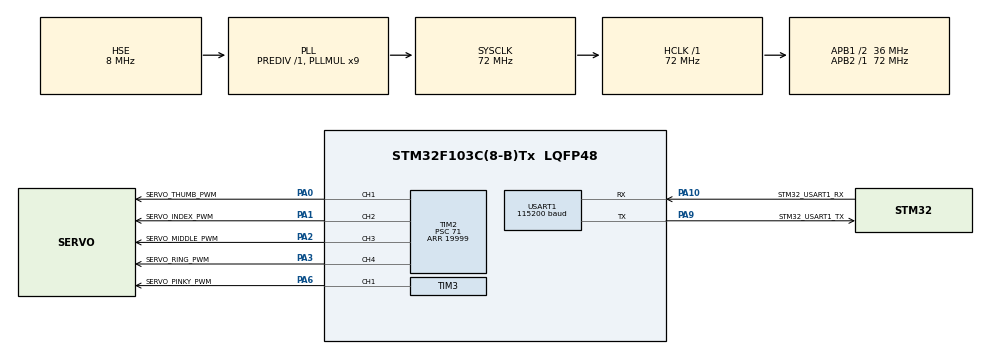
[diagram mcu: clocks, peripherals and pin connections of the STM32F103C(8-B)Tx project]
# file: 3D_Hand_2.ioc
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Mcu.Family=STM32F1
Mcu.Name=STM32F103C(8-B)Tx
Mcu.Package=LQFP48
NVIC.PriorityGroup=NVIC_PRIORITYGROUP_4
NVIC.USART1_IRQn=true\:1\:0\:false\:false\:true\:true\:true\:true
PA0-WKUP.GPIO_Label=SERVO_THUMB_PWM
PA0-WKUP.Signal=S_TIM2_CH1
PA1.GPIO_Label=SERVO_INDEX_PWM
PA1.Signal=S_TIM2_CH2
PA10.GPIO_Label=STM32_USART1_RX
PA10.Mode=Asynchronous
PA10.Signal=USART1_RX
PA2.GPIO_Label=SERVO_MIDDLE_PWM
PA2.Signal=S_TIM2_CH3
PA3.GPIO_Label=SERVO_RING_PWM
PA3.Signal=S_TIM2_CH4
PA6.GPIO_Label=SERVO_PINKY_PWM
PA6.Signal=S_TIM3_CH1
PA9.GPIO_Label=STM32_USART1_TX
PA9.Mode=Asynchronous
PA9.Signal=USART1_TX
PD0-OSC_IN.Mode=HSE-External-Clock-Source
PD0-OSC_IN.Signal=RCC_OSC_IN
PD1-OSC_OUT.Mode=HSE-External-Clock-Source
PD1-OSC_OUT.Signal=RCC_OSC_OUT
ProjectManager.HeapSize=0x200
ProjectManager.StackSize=0x400
ProjectManager.TargetToolchain=CMake
RCC.AHBFreq_Value=72000000
RCC.APB1CLKDivider=RCC_HCLK_DIV2
RCC.APB1Freq_Value=36000000
RCC.APB1TimFreq_Value=72000000
RCC.APB2Freq_Value=72000000
RCC.APB2TimFreq_Value=72000000
RCC.HCLKFreq_Value=72000000
RCC.PLLMUL=RCC_PLL_MUL9
RCC.PLLSourceVirtual=RCC_PLLSOURCE_HSE
RCC.SYSCLKFreq_VALUE=72000000
RCC.SYSCLKSource=RCC_SYSCLKSOURCE_PLLCLK
RCC.USBFreq_Value=72000000
SH.S_TIM2_CH1.0=TIM2_CH1,PWM Generation1 CH1
SH.S_TIM2_CH2.0=TIM2_CH2,PWM Generation2 CH2
SH.S_TIM2_CH3.0=TIM2_CH3,PWM Generation3 CH3
SH.S_TIM2_CH4.0=TIM2_CH4,PWM Generation4 CH4
SH.S_TIM3_CH1.0=TIM3_CH1,PWM Generation1 CH1
TIM2.Channel-PWM\ Generation1\ CH1=TIM_CHANNEL_1
TIM2.Channel-PWM\ Generation2\ CH2=TIM_CHANNEL_2
TIM2.Channel-PWM\ Generation3\ CH3=TIM_CHANNEL_3
TIM2.Channel-PWM\ Generation4\ CH4=TIM_CHANNEL_4
TIM2.Period=19999
TIM2.Prescaler=71
TIM2.Pulse-PWM\ Generation1\ CH1=1000
TIM2.Pulse-PWM\ Generation2\ CH2=1000
TIM2.Pulse-PWM\ Generation3\ CH3=1000
TIM2.Pulse-PWM\ Generation4\ CH4=1000
TIM3.Channel-PWM\ Generation1\ CH1=TIM_CHANNEL_1
TIM3.Period=19999
TIM3.Prescaler=71
TIM3.Pulse-PWM\ Generation1\ CH1=1000
USART1.BaudRate=115200
USART1.VirtualMode-Asynchronous=VM_ASYNC
VP_SYS_VS_ND.Mode=No_Debug
board=custom

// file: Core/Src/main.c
/* USER CODE BEGIN Header */
/**
  ******************************************************************************
  * @file           : main.c
  * @brief          : Main program body
  ******************************************************************************
  * @attention
  *
  * Copyright (c) 2026 STMicroelectronics.
  * All rights reserved.
  *
  * This software is licensed under terms that can be found in the LICENSE file
  * in the root directory of this software component.
  * If no LICENSE file comes with this software, it is provided AS-IS.
  *
  ******************************************************************************
  */
/* USER CODE END Header */
#include "main.h"
#include "gpio.h"

/* USER CODE BEGIN Includes */
// 标准库头文件：bool类型、字符串处理、格式化输出
#include <stdbool.h>
#include <string.h>
#include <stdio.h>

/* USER CODE END Includes */

/* USER CODE BEGIN PD */

// ---- 灵巧手控制参数宏定义 ----
#define HAND_SERVO_COUNT          5U      // 舵机数量：5根手指
#define HAND_PWM_PERIOD_US        20000U  // PWM周期20ms（50Hz），SG90舵机标准频率
#define HAND_CONTROL_PERIOD_MS    20U     // 控制循环周期20ms，每周期更新一次舵机位置
#define HAND_COMMAND_TIMEOUT_MS   500U    // 命令超时500ms，超时后自动张开手指（安全保护）
#define HAND_UART_BAUDRATE        115200U // 串口波特率115200
#define HAND_RX_RING_SIZE         128U    // 串口接收环形缓冲区大小

/* USER CODE END PD */

/* USER CODE BEGIN PV */

// ---- HAL 外设句柄 ----
UART_HandleTypeDef huart1;   // USART1 串口句柄（与上位机通信）
TIM_HandleTypeDef htim2;     // TIM2 定时器句柄（输出4路PWM：CH1~CH4）
TIM_HandleTypeDef htim3;     // TIM3 定时器句柄（输出1路PWM：CH1）

// ---- 串口接收环形缓冲区 ----
static volatile uint8_t rx_byte;                           // 单字节中断接收暂存
static volatile uint8_t rx_ring[HAND_RX_RING_SIZE];        // 环形缓冲区存储数组
static volatile uint16_t rx_head;                          // 缓冲区写指针（由中断填充）
static volatile uint16_t rx_tail;                          // 缓冲区读指针（由主循环消费）

// ---- 舵机位置表（单位：微秒 us） ----
static const uint16_t servo_open_us[HAND_SERVO_COUNT] = {
  1000U, 1000U, 1000U, 1000U, 1000U   // 张开位置：5个舵机分别对应的PWM脉宽
};

static const uint16_t servo_close_us[HAND_SERVO_COUNT] = {
  1900U, 2000U, 2000U, 1950U, 1900U  // 闭合位置：每根手指机械行程不同，闭合脉宽略有差异
};

static uint16_t servo_current_us[HAND_SERVO_COUNT];   // 当前实际PWM脉宽（平滑运动用）
static uint16_t servo_target_us[HAND_SERVO_COUNT];    // 目标PWM脉宽（命令设定的最终位置）
static uint32_t last_command_ms;                      // 最后一次收到有效命令的时间戳（ms）

/* USER CODE END PV */

void SystemClock_Config(void);
/* USER CODE BEGIN PFP */

// ---- 外设初始化函数 ----
static void MX_USART1_UART_Init(void);   // 初始化USART1串口（PA9-TX, PA10-RX, 115200-8N1）
static void MX_TIM2_Init(void);          // 初始化TIM2定时器（PWM输出：CH1~CH4 → 舵机0~3）
static void MX_TIM3_Init(void);          // 初始化TIM3定时器（PWM输出：CH1 → 舵机4）

// ---- 灵巧手控制核心函数 ----
static void Hand_Init(void);             // 舵机初始化：全部置为张开位置
static void Hand_Tick(uint32_t now_ms);  // 每20ms调用一次：超时检测 + 平滑运动 + PWM更新
static void Hand_SetGrip(float grip, uint32_t now_ms);        // 整体抓握：0.0=全开, 1.0=全闭
static void Hand_SetFingers(const float fingers[HAND_SERVO_COUNT], uint32_t now_ms); // 单指独立控制
static void Hand_WriteServoUs(uint8_t servo_id, uint16_t pulse_us);  // 写入单个舵机PWM脉宽（限幅500~2500us）

// ---- 串口通信与命令解析 ----
static void Hand_ProcessLine(const char *line);   // 解析一行串口命令并执行
static void Hand_UartWrite(const char *text);     // 通过串口发送字符串
static void Hand_UartWriteStatus(void);           // 发送当前5路舵机状态
static bool Hand_RxPop(uint8_t *out);             // 从环形缓冲区取一个字节
static bool Hand_ParseUnitValue(const char **cursor, float *out); // 解析浮点数（0.0~1.0）
static float Hand_Clamp01(float value);           // 将数值限制到[0.0, 1.0]区间
static void Hand_StartUartRx(void);               // 启动USART1单字节中断接收

/* USER CODE END PFP */

/**
  * @brief  主函数入口 - 灵巧手控制程序
  * @retval int
  */
int main(void)
{

  /* MCU Configuration--------------------------------------------------------*/

  /* Reset of all peripherals, Initializes the Flash interface and the Systick. */
  HAL_Init();   // 初始化HAL库：复位所有外设、初始化Flash接口和SysTick定时器

  /* Configure the system clock */
  SystemClock_Config();   // 配置系统时钟：HSE(8MHz) → PLL×9 → 72MHz SYSCLK

  /* Initialize all configured peripherals */
  MX_GPIO_Init();   // GPIO初始化（CubeMX生成，使能GPIOC/GPIOD时钟）
  /* USER CODE BEGIN 2 */
  MX_USART1_UART_Init();   // 初始化USART1（PA9-TX, PA10-RX）
  MX_TIM2_Init();          // 初始化TIM2 PWM（CH1~CH4 → 舵机0~3）
  MX_TIM3_Init();          // 初始化TIM3 PWM（CH1 → 舵机4）
  Hand_Init();             // 舵机初始化：5个舵机全部归位到张开位置
  Hand_StartUartRx();      // 启动串口中断接收（单字节）
  Hand_UartWrite("3D_HAND_READY\r\n");   // 上电就绪信号，通知上位机可以开始发送命令

  /* USER CODE END 2 */

  /* Infinite loop */
  while (1)
  {

    /* USER CODE BEGIN 3 */
    static char line[96];            // 串口命令行缓冲区
    static uint8_t line_len = 0U;    // 当前命令行已接收字节数
    static uint32_t next_control_ms = 0U;  // 下次控制循环的时间点
    uint8_t byte;

    // ---- 步骤1：从环形缓冲区逐字节读取，拼接成完整的命令行 ----
    while (Hand_RxPop(&byte))
    {
      if (byte == '\r')
      {
        continue;   // 忽略回车符
      }
      if (byte == '\n')
      {
        // 遇到换行符，一行命令接收完毕，执行命令
        line[line_len] = '\0';
        Hand_ProcessLine(line);
        line_len = 0U;
      }
      else if (line_len < (sizeof(line) - 1U))
      {
        line[line_len++] = (char)byte;   // 普通字符追加到行缓冲区
      }
      else
      {
        line_len = 0U;   // 缓冲区溢出，丢弃该行，重新开始
      }
    }

    // ---- 步骤2：每20ms执行一次舵机控制循环 ----
    uint32_t now_ms = HAL_GetTick();
    if ((int32_t)(now_ms - next_control_ms) >= 0)
    {
      Hand_Tick(now_ms);   // 超时检测 + 平滑运动插值 + PWM更新
      next_control_ms = now_ms + HAND_CONTROL_PERIOD_MS;
    }
  }
  /* USER CODE END 3 */
}

/**
  * @brief 系统时钟配置：HSE(8MHz) → PLL×9 → SYSCLK=72MHz, APB1=36MHz, APB2=72MHz
  * @retval None
  */
void SystemClock_Config(void)
{
  RCC_OscInitTypeDef RCC_OscInitStruct = {0};
  RCC_ClkInitTypeDef RCC_ClkInitStruct = {0};

  /** 配置振荡器：使用外部高速晶振(HSE) 8MHz，旁路模式（已有外部时钟源） */
  RCC_OscInitStruct.OscillatorType = RCC_OSCILLATORTYPE_HSE;
  RCC_OscInitStruct.HSEState = RCC_HSE_BYPASS;       // HSE旁路模式（外部直接提供时钟）
  RCC_OscInitStruct.HSEPredivValue = RCC_HSE_PREDIV_DIV1;  // HSE不分频
  RCC_OscInitStruct.HSIState = RCC_HSI_ON;            // 保持内部HSI开启作为备用
  RCC_OscInitStruct.PLL.PLLState = RCC_PLL_ON;        // 使能PLL
  RCC_OscInitStruct.PLL.PLLSource = RCC_PLLSOURCE_HSE; // PLL时钟源选择HSE
  RCC_OscInitStruct.PLL.PLLMUL = RCC_PLL_MUL9;        // PLL倍频×9 → 8MHz×9=72MHz
  if (HAL_RCC_OscConfig(&RCC_OscInitStruct) != HAL_OK)
  {
    Error_Handler();
  }

  /** 配置总线时钟分频：SYSCLK=72M, HCLK=72M, APB1=36M, APB2=72M */
  RCC_ClkInitStruct.ClockType = RCC_CLOCKTYPE_HCLK|RCC_CLOCKTYPE_SYSCLK
                              |RCC_CLOCKTYPE_PCLK1|RCC_CLOCKTYPE_PCLK2;
  RCC_ClkInitStruct.SYSCLKSource = RCC_SYSCLKSOURCE_PLLCLK;  // 系统时钟来源=PLL输出
  RCC_ClkInitStruct.AHBCLKDivider = RCC_SYSCLK_DIV1;         // HCLK = SYSCLK/1 = 72MHz
  RCC_ClkInitStruct.APB1CLKDivider = RCC_HCLK_DIV2;          // APB1 = HCLK/2 = 36MHz（TIM2/3在此总线）
  RCC_ClkInitStruct.APB2CLKDivider = RCC_HCLK_DIV1;          // APB2 = HCLK/1 = 72MHz（USART1在此总线）

  if (HAL_RCC_ClockConfig(&RCC_ClkInitStruct, FLASH_LATENCY_2) != HAL_OK)  // 72MHz需要2个Flash等待周期
  {
    Error_Handler();
  }
}

/* USER CODE BEGIN 4 */

/**
  * @brief  初始化USART1串口：PA9(TX,复用推挽) + PA10(RX,上拉输入), 115200-8N1
  * @note   使能USART1中断，优先级为1,0（抢占1，子优先级0）
  */
static void MX_USART1_UART_Init(void)
{
  GPIO_InitTypeDef GPIO_InitStruct = {0};

  // 使能GPIOA和USART1时钟
  __HAL_RCC_GPIOA_CLK_ENABLE();
  __HAL_RCC_USART1_CLK_ENABLE();

  // PA9: USART1_TX → 复用推挽输出
  GPIO_InitStruct.Pin = GPIO_PIN_9;
  GPIO_InitStruct.Mode = GPIO_MODE_AF_PP;
  GPIO_InitStruct.Speed = GPIO_SPEED_FREQ_HIGH;
  HAL_GPIO_Init(GPIOA, &GPIO_InitStruct);

  // PA10: USART1_RX → 上拉输入（空闲时保持高电平）
  GPIO_InitStruct.Pin = GPIO_PIN_10;
  GPIO_InitStruct.Mode = GPIO_MODE_INPUT;
  GPIO_InitStruct.Pull = GPIO_PULLUP;
  HAL_GPIO_Init(GPIOA, &GPIO_InitStruct);

  // 配置USART1：115200波特率, 8数据位, 1停止位, 无校验, 无流控
  huart1.Instance = USART1;
  huart1.Init.BaudRate = HAND_UART_BAUDRATE;
  huart1.Init.WordLength = UART_WORDLENGTH_8B;
  huart1.Init.StopBits = UART_STOPBITS_1;
  huart1.Init.Parity = UART_PARITY_NONE;
  huart1.Init.Mode = UART_MODE_TX_RX;        // 全双工模式
  huart1.Init.HwFlowCtl = UART_HWCONTROL_NONE;
  huart1.Init.OverSampling = UART_OVERSAMPLING_16;
  if (HAL_UART_Init(&huart1) != HAL_OK)
  {
    Error_Handler();
  }

  // 配置USART1中断优先级并使能
  HAL_NVIC_SetPriority(USART1_IRQn, 1, 0);
  HAL_NVIC_EnableIRQ(USART1_IRQn);
}

/**
  * @brief  配置PWM输出GPIO引脚：PA0,PA1,PA2,PA3（TIM2_CH1~CH4）+ PA6（TIM3_CH1）
  * @note   所有引脚配置为复用推挽输出，低速即可（50Hz PWM）
  */
static void Hand_PWM_GPIO_Init(void)
{
  GPIO_InitTypeDef GPIO_InitStruct = {0};

  __HAL_RCC_GPIOA_CLK_ENABLE();

  // PA0(舵机0/拇指), PA1(舵机1/食指), PA2(舵机2/中指), PA3(舵机3/无名指), PA6(舵机4/小指)
  GPIO_InitStruct.Pin = GPIO_PIN_0 | GPIO_PIN_1 | GPIO_PIN_2 | GPIO_PIN_3 | GPIO_PIN_6;
  GPIO_InitStruct.Mode = GPIO_MODE_AF_PP;        // 复用推挽输出
  GPIO_InitStruct.Speed = GPIO_SPEED_FREQ_LOW;   // 低速（PWM频率仅50Hz，低速足够）
  HAL_GPIO_Init(GPIOA, &GPIO_InitStruct);
}

/**
  * @brief  初始化TIM2定时器：4通道PWM输出，50Hz，1us分辨率
  * @note   定时器时钟72MHz, 预分频71→计数频率1MHz, 周期19999→20ms(50Hz)
  *         CH1=PA0(舵机0), CH2=PA1(舵机1), CH3=PA2(舵机2), CH4=PA3(舵机3)
  */
static void MX_TIM2_Init(void)
{
  TIM_OC_InitTypeDef sConfigOC = {0};

  __HAL_RCC_TIM2_CLK_ENABLE();
  Hand_PWM_GPIO_Init();   // 先初始化PWM对应的GPIO引脚

  // TIM2时基配置：72MHz/(71+1)=1MHz计数频率，周期(19999+1)=20000us=20ms
  htim2.Instance = TIM2;
  htim2.Init.Prescaler = 72U - 1U;                    // 预分频：72分频 → 1MHz
  htim2.Init.CounterMode = TIM_COUNTERMODE_UP;         // 向上计数模式
  htim2.Init.Period = HAND_PWM_PERIOD_US - 1U;         // 自动重载值：19999 → 20ms周期
  htim2.Init.ClockDivision = TIM_CLOCKDIVISION_DIV1;
  htim2.Init.AutoReloadPreload = TIM_AUTORELOAD_PRELOAD_DISABLE;
  if (HAL_TIM_PWM_Init(&htim2) != HAL_OK)
  {
    Error_Handler();
  }

  // PWM输出配置：PWM模式1（CNT<CCR时输出高电平），初始脉宽1000us（张开位置）
  sConfigOC.OCMode = TIM_OCMODE_PWM1;
  sConfigOC.Pulse = 1000U;
  sConfigOC.OCPolarity = TIM_OCPOLARITY_HIGH;
  sConfigOC.OCFastMode = TIM_OCFAST_DISABLE;

  // 配置4个PWM通道并立即启动输出
  if (HAL_TIM_PWM_ConfigChannel(&htim2, &sConfigOC, TIM_CHANNEL_1) != HAL_OK ||
      HAL_TIM_PWM_ConfigChannel(&htim2, &sConfigOC, TIM_CHANNEL_2) != HAL_OK ||
      HAL_TIM_PWM_ConfigChannel(&htim2, &sConfigOC, TIM_CHANNEL_3) != HAL_OK ||
      HAL_TIM_PWM_ConfigChannel(&htim2, &sConfigOC, TIM_CHANNEL_4) != HAL_OK)
  {
    Error_Handler();
  }

  HAL_TIM_PWM_Start(&htim2, TIM_CHANNEL_1);
  HAL_TIM_PWM_Start(&htim2, TIM_CHANNEL_2);
  HAL_TIM_PWM_Start(&htim2, TIM_CHANNEL_3);
  HAL_TIM_PWM_Start(&htim2, TIM_CHANNEL_4);
}

/**
  * @brief  初始化TIM3定时器：1通道PWM输出，50Hz，1us分辨率
  * @note   配置同TIM2，仅使用CH1=PA6（舵机4/小指）
  */
static void MX_TIM3_Init(void)
{
  TIM_OC_InitTypeDef sConfigOC = {0};

  __HAL_RCC_TIM3_CLK_ENABLE();
  Hand_PWM_GPIO_Init();   // 注意：此函数会被TIM2和TIM3各调用一次，重复初始化GPIO无副作用

  // TIM3时基配置：同TIM2，72MHz/(71+1)=1MHz, 周期20000us=20ms
  htim3.Instance = TIM3;
  htim3.Init.Prescaler = 72U - 1U;
  htim3.Init.CounterMode = TIM_COUNTERMODE_UP;
  htim3.Init.Period = HAND_PWM_PERIOD_US - 1U;
  htim3.Init.ClockDivision = TIM_CLOCKDIVISION_DIV1;
  htim3.Init.AutoReloadPreload = TIM_AUTORELOAD_PRELOAD_DISABLE;
  if (HAL_TIM_PWM_Init(&htim3) != HAL_OK)
  {
    Error_Handler();
  }

  sConfigOC.OCMode = TIM_OCMODE_PWM1;
  sConfigOC.Pulse = 1000U;
  sConfigOC.OCPolarity = TIM_OCPOLARITY_HIGH;
  sConfigOC.OCFastMode = TIM_OCFAST_DISABLE;

  // TIM3仅使用CH1，控制第5个舵机（小指）
  if (HAL_TIM_PWM_ConfigChannel(&htim3, &sConfigOC, TIM_CHANNEL_1) != HAL_OK)
  {
    Error_Handler();
  }

  HAL_TIM_PWM_Start(&htim3, TIM_CHANNEL_1);
}

/**
  * @brief  舵机初始化：将所有舵机的当前值和目标值设为张开位置，并写入PWM
  */
static void Hand_Init(void)
{
  for (uint8_t i = 0U; i < HAND_SERVO_COUNT; ++i)
  {
    servo_current_us[i] = servo_open_us[i];   // 当前位置 = 张开位置
    servo_target_us[i] = servo_open_us[i];    // 目标位置 = 张开位置
    Hand_WriteServoUs(i, servo_current_us[i]); // 立即输出PWM
  }
  last_command_ms = HAL_GetTick();   // 记录初始时间戳，避免启动时立即触发超时
}

/**
  * @brief  舵机控制周期任务（每20ms调用一次）
  * @param  now_ms: 当前系统时间戳（ms）
  * @note   功能1：命令超时检测 → 超过500ms无新命令则自动张开（安全保护）
  *         功能2：平滑运动插值 → 每20ms最多改变10us脉宽，避免舵机突变抖动
  *         功能3：将插值后的PWM值写入硬件比较寄存器
  */
static void Hand_Tick(uint32_t now_ms)
{
  // ---- 超时保护：超过500ms未收到命令，自动回到张开位置 ----
  if ((now_ms - last_command_ms) > HAND_COMMAND_TIMEOUT_MS)
  {
    for (uint8_t i = 0U; i < HAND_SERVO_COUNT; ++i)
    {
      servo_target_us[i] = servo_open_us[i];
    }
  }

  // ---- 平滑运动：逐步逼近目标位置，每次最多变化10us ----
  for (uint8_t i = 0U; i < HAND_SERVO_COUNT; ++i)
  {
    if (servo_current_us[i] < servo_target_us[i])
    {
      // 当前值小于目标值 → 增大脉宽（闭合方向）
      uint16_t delta = servo_target_us[i] - servo_current_us[i];
      servo_current_us[i] += (delta > 10U) ? 10U : delta;  // 步进限制：最多+10us
    }
    else if (servo_current_us[i] > servo_target_us[i])
    {
      // 当前值大于目标值 → 减小脉宽（张开方向）
      uint16_t delta = servo_current_us[i] - servo_target_us[i];
      servo_current_us[i] -= (delta > 10U) ? 10U : delta;  // 步进限制：最多-10us
    }

    // 将计算后的PWM值写入硬件
    Hand_WriteServoUs(i, servo_current_us[i]);
  }
}

/**
  * @brief  设置整体抓握比例（5指同步）
  * @param  grip: 抓握比例 0.0=全张开, 1.0=全闭合
  * @param  now_ms: 当前时间戳，用于刷新超时计时
  * @note   自动将grip钳位到[0.0, 1.0]，线性映射到每根手指的开/闭脉宽之间
  */
static void Hand_SetGrip(float grip, uint32_t now_ms)
{
  grip = Hand_Clamp01(grip);   // 钳位到[0, 1]
  for (uint8_t i = 0U; i < HAND_SERVO_COUNT; ++i)
  {
    // 线性插值：target = open + (close - open) * grip
    servo_target_us[i] = (uint16_t)((float)servo_open_us[i] +
                         ((float)servo_close_us[i] - (float)servo_open_us[i]) * grip);
  }
  last_command_ms = now_ms;   // 刷新命令时间戳，防止超时
}

/**
  * @brief  独立设置每根手指的闭合比例
  * @param  fingers: 长度为5的数组，每根手指的闭合比例[0.0, 1.0]
  * @param  now_ms: 当前时间戳
  * @note   索引对应：0=拇指, 1=食指, 2=中指, 3=无名指, 4=小指
  */
static void Hand_SetFingers(const float fingers[HAND_SERVO_COUNT], uint32_t now_ms)
{
  for (uint8_t i = 0U; i < HAND_SERVO_COUNT; ++i)
  {
    float value = Hand_Clamp01(fingers[i]);   // 每个值独立钳位
    servo_target_us[i] = (uint16_t)((float)servo_open_us[i] +
                         ((float)servo_close_us[i] - (float)servo_open_us[i]) * value);
  }
  last_command_ms = now_ms;
}

/**
  * @brief  将PWM脉宽写入指定舵机的硬件比较寄存器
  * @param  servo_id: 舵机编号（0~4）
  * @param  pulse_us: PWM高电平脉宽（us），会被钳位到[500, 2500]安全范围
  * @note   引脚映射：0→PA0(TIM2_CH1), 1→PA1(TIM2_CH2), 2→PA2(TIM2_CH3),
  *                   3→PA3(TIM2_CH4), 4→PA6(TIM3_CH1)
  */
static void Hand_WriteServoUs(uint8_t servo_id, uint16_t pulse_us)
{
  // 脉宽安全限幅：SG90舵机安全范围500~2500us
  if (pulse_us < 500U)
  {
    pulse_us = 500U;
  }
  else if (pulse_us > 2500U)
  {
    pulse_us = 2500U;
  }

  switch (servo_id)
  {
    case 0: __HAL_TIM_SET_COMPARE(&htim2, TIM_CHANNEL_1, pulse_us); break;  // 拇指 PA0
    case 1: __HAL_TIM_SET_COMPARE(&htim2, TIM_CHANNEL_2, pulse_us); break;  // 食指 PA1
    case 2: __HAL_TIM_SET_COMPARE(&htim2, TIM_CHANNEL_3, pulse_us); break;  // 中指 PA2
    case 3: __HAL_TIM_SET_COMPARE(&htim2, TIM_CHANNEL_4, pulse_us); break;  // 无名指 PA3
    case 4: __HAL_TIM_SET_COMPARE(&htim3, TIM_CHANNEL_1, pulse_us); break;  // 小指 PA6
    default: break;
  }
}

/**
  * @brief  解析并执行一行串口命令
  * @param  line: 以'\0'结尾的命令字符串（不含换行符）
  * @note   支持的命令格式：
  *         - PING         → 心跳测试，回复PONG
  *         - OPEN / O     → 五指全开
  *         - CLOSE / C    → 五指全闭
  *         - STATUS / S   → 查询当前PWM状态
  *         - G,0.5        → 整体抓握比例（0.0~1.0）
  *         - F,0.2,0.5,0.8,0.3,0.6 → 五指独立控制
  */
static void Hand_ProcessLine(const char *line)
{
  if (line == NULL || line[0] == '\0')
  {
    return;   // 空行忽略
  }

  // ---- 命令：OPEN / O → 五指全开 ----
  if (strcmp(line, "OPEN") == 0 || strcmp(line, "O") == 0)
  {
    Hand_SetGrip(0.0f, HAL_GetTick());   // grip=0.0 即全部张开
    Hand_UartWrite("OK,OPEN\r\n");
    return;
  }

  // ---- 命令：CLOSE / C → 五指全闭 ----
  if (strcmp(line, "CLOSE") == 0 || strcmp(line, "C") == 0)
  {
    Hand_SetGrip(1.0f, HAL_GetTick());   // grip=1.0 即全部闭合
    Hand_UartWrite("OK,CLOSE\r\n");
    return;
  }

  // ---- 命令：PING → 心跳测试 ----
  if (strcmp(line, "PING") == 0)
  {
    Hand_UartWrite("PONG\r\n");
    return;
  }

  // ---- 命令：STATUS / S → 查询状态 ----
  if (strcmp(line, "STATUS") == 0 || strcmp(line, "S") == 0)
  {
    Hand_UartWriteStatus();   // 返回5路当前值和目标值
    return;
  }

  // ---- 命令：G,<value> → 整体抓握比例控制 ----
  if (line[0] == 'G' && line[1] == ',')
  {
    const char *cursor = line + 2;   // 跳过"G,"
    float grip = 0.0f;
    if (Hand_ParseUnitValue(&cursor, &grip) && *cursor == '\0')
    {
      Hand_SetGrip(grip, HAL_GetTick());
      Hand_UartWrite("OK,G\r\n");
      return;
    }
    Hand_UartWrite("ERR,G\r\n");   // 解析失败
    return;
  }

  // ---- 命令：F,<v0>,<v1>,<v2>,<v3>,<v4> → 五指独立控制 ----
  if (line[0] == 'F' && line[1] == ',')
  {
    const char *cursor = line + 2;   // 跳过"F,"
    float fingers[HAND_SERVO_COUNT];
    for (uint8_t i = 0U; i < HAND_SERVO_COUNT; ++i)
    {
      if (!Hand_ParseUnitValue(&cursor, &fingers[i]))
      {
        return;   // 解析失败，静默忽略
      }
      if (i + 1U < HAND_SERVO_COUNT)
      {
        if (*cursor != ',')
        {
          return;   // 分隔符不是逗号，格式错误
        }
        cursor++;   // 跳过逗号
      }
    }
    if (*cursor != '\0')
    {
      Hand_UartWrite("ERR,F\r\n");   // 末尾有多余字符
      return;
    }
    Hand_SetFingers(fingers, HAL_GetTick());
    Hand_UartWrite("OK,F\r\n");
    return;
  }

  // ---- 未知命令 ----
  Hand_UartWrite("ERR,UNKNOWN\r\n");
}

/**
  * @brief  通过USART1发送字符串（阻塞模式，超时50ms）
  * @param  text: 要发送的C字符串
  */
static void Hand_UartWrite(const char *text)
{
  HAL_UART_Transmit(&huart1, (uint8_t *)text, (uint16_t)strlen(text), 50U);
}

/**
  * @brief  发送舵机状态报告：当前脉宽和目标脉宽（共10个值，逗号分隔）
  * @note   格式：STATUS,cur0,cur1,cur2,cur3,cur4,tgt0,tgt1,tgt2,tgt3,tgt4\r\n
  */
static void Hand_UartWriteStatus(void)
{
  char text[96];
  int len = snprintf(text, sizeof(text),
                     "STATUS,%u,%u,%u,%u,%u,%u,%u,%u,%u,%u\r\n",
                     (unsigned int)servo_current_us[0],
                     (unsigned int)servo_current_us[1],
                     (unsigned int)servo_current_us[2],
                     (unsigned int)servo_current_us[3],
                     (unsigned int)servo_current_us[4],
                     (unsigned int)servo_target_us[0],
                     (unsigned int)servo_target_us[1],
                     (unsigned int)servo_target_us[2],
                     (unsigned int)servo_target_us[3],
                     (unsigned int)servo_target_us[4]);
  if (len > 0 && len < (int)sizeof(text))
  {
    HAL_UART_Transmit(&huart1, (uint8_t *)text, (uint16_t)len, 50U);
  }
}

/**
  * @brief  从环形缓冲区取出一个字节（非阻塞）
  * @param  out: 输出参数，存放取出的字节
  * @return true=成功取出, false=缓冲区为空
  * @note   只读rx_tail指针，由主循环调用；rx_head由中断写入，无需关中断
  */
static bool Hand_RxPop(uint8_t *out)
{
  if (rx_tail == rx_head)
  {
    return false;   // 缓冲区空
  }
  *out = rx_ring[rx_tail];
  rx_tail = (uint16_t)((rx_tail + 1U) % HAND_RX_RING_SIZE);  // 环形递增
  return true;
}

/**
  * @brief  解析[0.0, 1.0]范围的浮点数（支持整数、小数两种格式）
  * @param  cursor: 指向字符串指针的指针，解析后自动前进
  * @param  out: 输出解析后的浮点数值（已钳位到[0.0, 1.0]）
  * @return true=解析成功, false=没有有效数字
  * @note   示例："0.5"→0.5, "1"→1.0, "0.25"→0.25
  *         小数部分最多解析6位（防止frac_scale溢出）
  */
static bool Hand_ParseUnitValue(const char **cursor, float *out)
{
  uint32_t whole = 0U;        // 整数部分
  uint32_t frac = 0U;         // 小数部分
  uint32_t frac_scale = 1U;   // 小数位数权重（10, 100, 1000, ...）
  bool has_digit = false;     // 是否至少解析到一个数字
  const char *p = *cursor;

  // 解析整数部分
  while (*p >= '0' && *p <= '9')
  {
    has_digit = true;
    whole = whole * 10U + (uint32_t)(*p - '0');
    p++;
  }

  // 解析小数部分（如果有小数点）
  if (*p == '.')
  {
    p++;
    while (*p >= '0' && *p <= '9')
    {
      has_digit = true;
      if (frac_scale < 1000000U)   // 限制最多6位小数，防止溢出
      {
        frac = frac * 10U + (uint32_t)(*p - '0');
        frac_scale *= 10U;
      }
      p++;
    }
  }

  if (!has_digit)
  {
    return false;   // 没有有效数字
  }

  // 合成浮点数并钳位到[0, 1]
  *out = Hand_Clamp01((float)whole + ((float)frac / (float)frac_scale));
  *cursor = p;   // 更新游标位置
  return true;
}

/**
  * @brief  将浮点数钳位到 [0.0, 1.0] 区间
  */
static float Hand_Clamp01(float value)
{
  if (value < 0.0f)
  {
    return 0.0f;
  }
  if (value > 1.0f)
  {
    return 1.0f;
  }
  return value;
}

/**
  * @brief  启动USART1单字节中断接收（每次中断只收1字节，存入环形缓冲区后重新启动）
  */
static void Hand_StartUartRx(void)
{
  HAL_UART_Receive_IT(&huart1, (uint8_t *)&rx_byte, 1U);
}

/**
  * @brief  USART1接收完成中断回调
  * @note   每收到1个字节触发一次，写入环形缓冲区后重新启动接收
  *         如果缓冲区满（head+1==tail），则丢弃该字节（静默丢弃策略）
  */
void HAL_UART_RxCpltCallback(UART_HandleTypeDef *huart)
{
  if (huart == &huart1)
  {
    uint16_t next_head = (uint16_t)((rx_head + 1U) % HAND_RX_RING_SIZE);
    if (next_head != rx_tail)   // 缓冲区未满，存入
    {
      rx_ring[rx_head] = rx_byte;
      rx_head = next_head;
    }
    // 否则缓冲区满，丢弃该字节（防止覆盖未处理的数据）
    Hand_StartUartRx();   // 重新启动中断接收
  }
}

/* USER CODE END 4 */

/**
  * @brief  错误处理函数：关闭全局中断后进入死循环
  * @note   任何HAL初始化失败都会调用此函数，实际产品中可加入LED闪烁报警
  */
void Error_Handler(void)
{
  /* USER CODE BEGIN Error_Handler_Debug */
  /* User can add his own implementation to report the HAL error return state */
  __disable_irq();   // 关闭全局中断
  while (1)
  {
  }
  /* USER CODE END Error_Handler_Debug */
}
